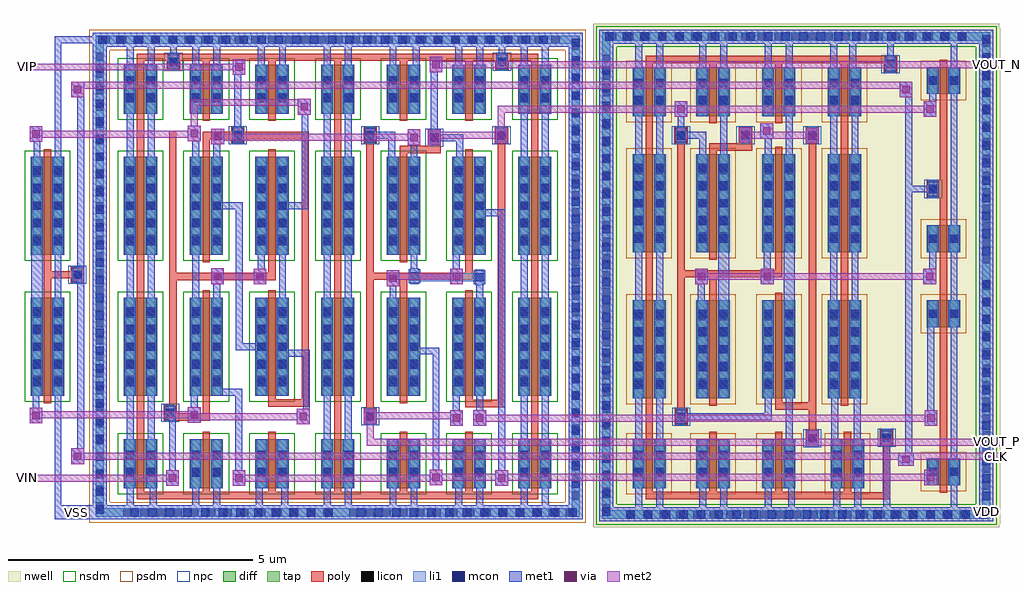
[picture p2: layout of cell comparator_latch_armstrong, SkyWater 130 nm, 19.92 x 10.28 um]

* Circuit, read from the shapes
.subckt comparator_latch_armstrong CLK VDD VIN VIP VOUT_N VOUT_P VSS
XM1 VSS CLK n1 VSS sky130_fd_pr__nfet_01v8 w=2 l=0.15 m=2
XM2 VSS VSS VSS VSS sky130_fd_pr__nfet_01v8 w=1 l=0.15 m=14
XM3 VSS VSS VSS VSS sky130_fd_pr__nfet_01v8 w=2 l=0.15 m=6
XM4 n2 VIN n1 VSS sky130_fd_pr__nfet_01v8 w=2 l=0.15 m=2
XM5 n3 VIP n1 VSS sky130_fd_pr__nfet_01v8 w=2 l=0.15 m=2
XM6 n2 VOUT_P VOUT_N VSS sky130_fd_pr__nfet_01v8 w=2 l=0.15 m=2
XM7 n3 VOUT_N VOUT_P VSS sky130_fd_pr__nfet_01v8 w=2 l=0.15 m=2
XM8 VDD VDD VDD VDD sky130_fd_pr__pfet_01v8 w=1 l=0.15 m=8
XM9 VDD VDD VDD VDD sky130_fd_pr__pfet_01v8 w=2 l=0.15 m=4
XM10 VDD VOUT_N VOUT_P VDD sky130_fd_pr__pfet_01v8 w=2 l=0.15 m=2
XM11 VDD VOUT_P VOUT_N VDD sky130_fd_pr__pfet_01v8 w=2 l=0.15 m=2
XM12 VDD CLK n2 VDD sky130_fd_pr__pfet_01v8 w=0.55 l=0.15
XM13 VDD CLK n3 VDD sky130_fd_pr__pfet_01v8 w=0.55 l=0.15
XM14 VDD CLK VOUT_P VDD sky130_fd_pr__pfet_01v8 w=0.55 l=0.15
XM15 VDD CLK VOUT_N VDD sky130_fd_pr__pfet_01v8 w=0.55 l=0.15
.ends

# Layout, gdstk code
import gdstk
lib = gdstk.Library(unit=1e-6, precision=1e-09)
def R(c, l, rs):  # rectangles x0, y0, x1, y1
    for r in rs: c.add(gdstk.rectangle(r[:2], r[2:], *l))
def A(c, l, x, y, w, h, nx, ny, dx, dy):  # array of equal rectangles
    R(c, l, [(x+i*dx, y+j*dy, x+i*dx+w, y+j*dy+h) for i in range(nx) for j in range(ny)])
nwell = (64, 20)
diff = (65, 20)
tap = (65, 44)
poly = (66, 20)
licon = (66, 44)
li1 = (67, 20)
mcon = (67, 44)
met1 = (68, 20)
via = (68, 44)
met2 = (69, 20)
nsdm = (93, 44)
psdm = (94, 20)
npc = (95, 20)

comparator_latch_armstro = lib.new_cell('comparator_latch_armstrong')
R(comparator_latch_armstro, nwell, [(0.595,-14.905,8.88,-14.845), (0.595,-14.845,8.895,-4.71), (0.595,-4.71,8.88,-4.625)])
A(comparator_latch_armstro, diff, -8.985, -14.105, 0.68, 1, 3, 2, 1.34, 7.645)
A(comparator_latch_armstro, diff, -4.96, -14.105, 0.68, 1, 4, 2, 1.34, 7.645)
A(comparator_latch_armstro, diff, 2.7, -12.27, 0.68, 2, 3, 2, 1.34, 2.98)
A(comparator_latch_armstro, diff, -8.985, -12.22, 0.68, 2, 3, 2, 1.34, 2.88)
A(comparator_latch_armstro, diff, -4.96, -12.22, 0.68, 2, 4, 2, 1.34, 2.88)
A(comparator_latch_armstro, diff, 2.7, -6.51, 0.68, 1, 3, 1, 1.34, 0)
R(comparator_latch_armstro, diff, [(1.395,-14.105,2.075,-13.105), (2.7,-14.105,3.38,-13.105), (4.04,-14.105,4.72,-13.105), (5.44,-14.105,6.12,-13.105), (7.4,-14.045,8.08,-13.495), (1.395,-12.27,2.075,-10.27), (-10.885,-12.22,-10.205,-10.22), (7.4,-10.82,8.08,-10.27), (-10.885,-9.34,-10.205,-7.34), (1.395,-9.29,2.075,-7.29), (7.4,-9.29,8.08,-8.74), (1.395,-6.51,2.075,-5.51), (7.4,-6.06,8.08,-5.51)])
R(comparator_latch_armstro, tap, [(0.775,-14.725,8.7,-14.555), (-9.565,-14.685,0.32,-14.515), (0.775,-14.555,0.945,-4.975), (8.53,-14.555,8.7,-4.975), (-9.565,-14.515,-9.395,-5.04), (0.15,-14.515,0.32,-5.04), (-9.565,-5.04,0.32,-4.87), (0.775,-4.975,8.7,-4.805)])
R(comparator_latch_armstro, poly, [(5.705,-14.335,6.655,-14.33), (-8.72,-14.33,-0.525,-14.18), (1.66,-14.33,6.655,-14.185), (7.665,-14.195,7.815,-8.165), (1.66,-14.185,5.855,-14.18), (6.505,-14.185,6.655,-13.24), (-8.72,-14.18,-8.57,-5.385), (-7.38,-14.18,-7.23,-12.955), (-6.04,-14.18,-5.89,-12.955), (-4.695,-14.18,-4.545,-5.385), (-3.355,-14.18,-3.205,-12.955), (-2.015,-14.18,-1.865,-12.955), (-0.675,-14.18,-0.525,-5.385), (1.66,-14.18,1.81,-5.435), (2.965,-14.18,3.115,-12.955), (4.305,-14.18,4.455,-12.955), (5.705,-14.18,5.855,-12.955), (4.93,-13.25,5.2,-12.92), (6.445,-13.24,6.715,-12.91), (4.99,-12.92,5.14,-12.5), (2.255,-12.815,2.525,-12.485), (-4.095,-12.805,-3.825,-12.475), (-8.175,-12.73,-7.23,-12.58), (-8.175,-12.58,-7.905,-12.4), (-7.38,-12.58,-7.23,-10.07), (4.305,-12.5,5.14,-12.35), (2.31,-12.485,2.46,-9.805), (-4.035,-12.475,-3.885,-9.855), (-2.015,-12.45,-1.205,-12.3), (-6.04,-12.445,-5.21,-12.295), (2.965,-12.42,3.115,-9.805), (5.645,-12.42,5.795,-5.435), (-8.06,-12.4,-7.91,-9.86), (-10.62,-12.37,-10.47,-9.825), (-3.355,-12.37,-3.205,-9.855), (4.305,-12.35,4.455,-10.12), (4.99,-12.35,5.14,-7.07), (-2.015,-12.3,-1.865,-10.07), (-1.355,-12.3,-1.205,-7.07), (-6.04,-12.295,-5.89,-10.07), (-5.36,-12.295,-5.21,-6.98), (-10.07,-9.915,-9.8,-9.825), (-8.065,-9.86,-5.89,-9.71), (-4.035,-9.855,-1.865,-9.705), (-10.62,-9.825,-9.8,-9.675), (2.31,-9.805,4.455,-9.655), (-8.065,-9.71,-7.915,-6.815), (-6.04,-9.71,-5.89,-7.19), (-4.035,-9.705,-3.885,-7.07), (-2.015,-9.705,-1.865,-7.19), (-10.62,-9.675,-10.47,-7.19), (-10.07,-9.675,-9.8,-9.585), (2.31,-9.655,2.46,-7.07), (4.305,-9.655,4.455,-7.14), (-7.38,-9.49,-7.23,-6.98), (-3.355,-9.49,-3.205,-7.265), (2.965,-9.44,3.115,-7.215), (7.395,-8.165,7.815,-7.835), (7.665,-7.835,7.815,-5.36), (-3.355,-7.265,-2.515,-7.115), (2.965,-7.215,3.835,-7.065), (-2.785,-7.115,-2.515,-6.785), (-6.795,-7.07,-6.525,-6.98), (-4.095,-7.07,-3.825,-6.74), (-1.415,-7.07,-1.145,-6.74), (2.25,-7.07,2.52,-6.74), (4.93,-7.07,5.2,-6.74), (3.565,-7.065,3.835,-6.735), (-7.38,-6.98,-5.21,-6.83), (-6.795,-6.83,-6.525,-6.74), (2.965,-6.66,3.115,-5.435), (4.305,-6.66,4.455,-5.435), (-7.38,-6.61,-7.23,-5.385), (-6.04,-6.61,-5.89,-5.385), (-3.355,-6.61,-3.205,-5.385), (-2.015,-6.61,-1.865,-5.385), (6.525,-5.615,6.795,-5.435), (-8.11,-5.57,-7.84,-5.385), (-1.405,-5.57,-1.135,-5.385), (1.66,-5.435,6.795,-5.285), (-8.72,-5.385,-0.525,-5.235)])
A(comparator_latch_armstro, licon, 1.27, -14.725, 0.17, 0.17, 22, 1, 0.34, 0)
A(comparator_latch_armstro, licon, -8.995, -14.685, 0.17, 0.17, 13, 1, 0.34, 0)
A(comparator_latch_armstro, licon, -4.39, -14.685, 0.17, 0.17, 14, 1, 0.34, 0)
A(comparator_latch_armstro, licon, 0.775, -14.605, 0.17, 0.17, 1, 28, 0, 0.34)
A(comparator_latch_armstro, licon, -9.565, -14.565, 0.17, 0.17, 1, 28, 0, 0.34)
A(comparator_latch_armstro, licon, 0.15, -14.34, 0.17, 0.17, 1, 28, 0, 0.34)
A(comparator_latch_armstro, licon, 8.53, -14.135, 0.17, 0.17, 1, 13, 0, 0.34)
A(comparator_latch_armstro, licon, 1.435, -12.035, 0.17, 0.17, 1, 5, 0, 0.34)
A(comparator_latch_armstro, licon, 1.865, -12.035, 0.17, 0.17, 1, 5, 0, 0.34)
A(comparator_latch_armstro, licon, 2.74, -12.035, 0.17, 0.17, 1, 5, 0, 0.34)
A(comparator_latch_armstro, licon, 3.17, -12.035, 0.17, 0.17, 1, 5, 0, 0.34)
A(comparator_latch_armstro, licon, 4.08, -12.035, 0.17, 0.17, 1, 5, 0, 0.34)
A(comparator_latch_armstro, licon, 4.51, -12.035, 0.17, 0.17, 1, 5, 0, 0.34)
A(comparator_latch_armstro, licon, 5.42, -12.035, 0.17, 0.17, 1, 5, 0, 0.34)
A(comparator_latch_armstro, licon, 5.85, -12.035, 0.17, 0.17, 1, 5, 0, 0.34)
A(comparator_latch_armstro, licon, -10.845, -11.985, 0.17, 0.17, 1, 5, 0, 0.34)
A(comparator_latch_armstro, licon, -10.415, -11.985, 0.17, 0.17, 1, 5, 0, 0.34)
A(comparator_latch_armstro, licon, -8.945, -11.985, 0.17, 0.17, 1, 5, 0, 0.34)
A(comparator_latch_armstro, licon, -8.515, -11.985, 0.17, 0.17, 1, 5, 0, 0.34)
A(comparator_latch_armstro, licon, -7.605, -11.985, 0.17, 0.17, 1, 5, 0, 0.34)
A(comparator_latch_armstro, licon, -7.175, -11.985, 0.17, 0.17, 1, 5, 0, 0.34)
A(comparator_latch_armstro, licon, -6.265, -11.985, 0.17, 0.17, 1, 5, 0, 0.34)
A(comparator_latch_armstro, licon, -5.835, -11.985, 0.17, 0.17, 1, 5, 0, 0.34)
A(comparator_latch_armstro, licon, -4.92, -11.985, 0.17, 0.17, 1, 5, 0, 0.34)
A(comparator_latch_armstro, licon, -4.49, -11.985, 0.17, 0.17, 1, 5, 0, 0.34)
A(comparator_latch_armstro, licon, -3.58, -11.985, 0.17, 0.17, 1, 5, 0, 0.34)
A(comparator_latch_armstro, licon, -3.15, -11.985, 0.17, 0.17, 1, 5, 0, 0.34)
A(comparator_latch_armstro, licon, -2.24, -11.985, 0.17, 0.17, 1, 5, 0, 0.34)
A(comparator_latch_armstro, licon, -1.81, -11.985, 0.17, 0.17, 1, 5, 0, 0.34)
A(comparator_latch_armstro, licon, -0.9, -11.985, 0.17, 0.17, 1, 5, 0, 0.34)
A(comparator_latch_armstro, licon, -0.47, -11.985, 0.17, 0.17, 1, 5, 0, 0.34)
A(comparator_latch_armstro, licon, 8.53, -9.515, 0.17, 0.17, 1, 14, 0, 0.34)
A(comparator_latch_armstro, licon, -10.845, -9.105, 0.17, 0.17, 1, 5, 0, 0.34)
A(comparator_latch_armstro, licon, -10.415, -9.105, 0.17, 0.17, 1, 5, 0, 0.34)
A(comparator_latch_armstro, licon, -8.945, -9.105, 0.17, 0.17, 1, 5, 0, 0.34)
A(comparator_latch_armstro, licon, -8.515, -9.105, 0.17, 0.17, 1, 5, 0, 0.34)
A(comparator_latch_armstro, licon, -7.605, -9.105, 0.17, 0.17, 1, 5, 0, 0.34)
A(comparator_latch_armstro, licon, -7.175, -9.105, 0.17, 0.17, 1, 5, 0, 0.34)
A(comparator_latch_armstro, licon, -6.265, -9.105, 0.17, 0.17, 1, 5, 0, 0.34)
A(comparator_latch_armstro, licon, -5.835, -9.105, 0.17, 0.17, 1, 5, 0, 0.34)
A(comparator_latch_armstro, licon, -4.92, -9.105, 0.17, 0.17, 1, 5, 0, 0.34)
A(comparator_latch_armstro, licon, -4.49, -9.105, 0.17, 0.17, 1, 5, 0, 0.34)
A(comparator_latch_armstro, licon, -3.58, -9.105, 0.17, 0.17, 1, 5, 0, 0.34)
A(comparator_latch_armstro, licon, -3.15, -9.105, 0.17, 0.17, 1, 5, 0, 0.34)
A(comparator_latch_armstro, licon, -2.24, -9.105, 0.17, 0.17, 1, 5, 0, 0.34)
A(comparator_latch_armstro, licon, -1.81, -9.105, 0.17, 0.17, 1, 5, 0, 0.34)
A(comparator_latch_armstro, licon, -0.9, -9.105, 0.17, 0.17, 1, 5, 0, 0.34)
A(comparator_latch_armstro, licon, -0.47, -9.105, 0.17, 0.17, 1, 5, 0, 0.34)
A(comparator_latch_armstro, licon, 1.435, -9.055, 0.17, 0.17, 1, 5, 0, 0.34)
A(comparator_latch_armstro, licon, 1.865, -9.055, 0.17, 0.17, 1, 5, 0, 0.34)
A(comparator_latch_armstro, licon, 2.74, -9.055, 0.17, 0.17, 1, 5, 0, 0.34)
A(comparator_latch_armstro, licon, 3.17, -9.055, 0.17, 0.17, 1, 5, 0, 0.34)
A(comparator_latch_armstro, licon, 4.08, -9.055, 0.17, 0.17, 1, 5, 0, 0.34)
A(comparator_latch_armstro, licon, 4.51, -9.055, 0.17, 0.17, 1, 5, 0, 0.34)
A(comparator_latch_armstro, licon, 5.42, -9.055, 0.17, 0.17, 1, 5, 0, 0.34)
A(comparator_latch_armstro, licon, 5.85, -9.055, 0.17, 0.17, 1, 5, 0, 0.34)
A(comparator_latch_armstro, licon, -9.445, -5.04, 0.17, 0.17, 28, 1, 0.34, 0)
A(comparator_latch_armstro, licon, 0.895, -4.975, 0.17, 0.17, 22, 1, 0.34, 0)
R(comparator_latch_armstro, licon, [(-8.945,-13.86,-8.775,-13.69), (-8.515,-13.86,-8.345,-13.69), (-7.605,-13.86,-7.435,-13.69), (-7.175,-13.86,-7.005,-13.69), (-6.265,-13.86,-6.095,-13.69), (-5.835,-13.86,-5.665,-13.69), (-4.92,-13.86,-4.75,-13.69), (-4.49,-13.86,-4.32,-13.69), (-3.58,-13.86,-3.41,-13.69), (-3.15,-13.86,-2.98,-13.69), (-2.24,-13.86,-2.07,-13.69), (-1.81,-13.86,-1.64,-13.69), (-0.9,-13.86,-0.73,-13.69), (-0.47,-13.86,-0.3,-13.69), (1.435,-13.86,1.605,-13.69), (1.865,-13.86,2.035,-13.69), (2.74,-13.86,2.91,-13.69), (3.17,-13.86,3.34,-13.69), (4.08,-13.86,4.25,-13.69), (4.51,-13.86,4.68,-13.69), (5.48,-13.86,5.65,-13.69), (5.91,-13.86,6.08,-13.69), (7.44,-13.855,7.61,-13.685), (7.87,-13.855,8.04,-13.685), (-8.945,-13.52,-8.775,-13.35), (-8.515,-13.52,-8.345,-13.35), (-7.605,-13.52,-7.435,-13.35), (-7.175,-13.52,-7.005,-13.35), (-6.265,-13.52,-6.095,-13.35), (-5.835,-13.52,-5.665,-13.35), (-4.92,-13.52,-4.75,-13.35), (-4.49,-13.52,-4.32,-13.35), (-3.58,-13.52,-3.41,-13.35), (-3.15,-13.52,-2.98,-13.35), (-2.24,-13.52,-2.07,-13.35), (-1.81,-13.52,-1.64,-13.35), (-0.9,-13.52,-0.73,-13.35), (-0.47,-13.52,-0.3,-13.35), (1.435,-13.52,1.605,-13.35), (1.865,-13.52,2.035,-13.35), (2.74,-13.52,2.91,-13.35), (3.17,-13.52,3.34,-13.35), (4.08,-13.52,4.25,-13.35), (4.51,-13.52,4.68,-13.35), (5.48,-13.52,5.65,-13.35), (5.91,-13.52,6.08,-13.35), (4.98,-13.17,5.15,-13), (6.495,-13.16,6.665,-12.99), (2.305,-12.735,2.475,-12.565), (-4.045,-12.725,-3.875,-12.555), (-8.125,-12.65,-7.955,-12.48), (7.44,-10.63,7.61,-10.46), (7.87,-10.63,8.04,-10.46), (-10.02,-9.835,-9.85,-9.665), (7.44,-9.1,7.61,-8.93), (7.87,-9.1,8.04,-8.93), (7.445,-8.085,7.615,-7.915), (-2.735,-7.035,-2.565,-6.865), (-6.745,-6.99,-6.575,-6.82), (-4.045,-6.99,-3.875,-6.82), (-1.365,-6.99,-1.195,-6.82), (2.3,-6.99,2.47,-6.82), (4.98,-6.99,5.15,-6.82), (3.615,-6.985,3.785,-6.815), (1.435,-6.265,1.605,-6.095), (1.865,-6.265,2.035,-6.095), (2.74,-6.265,2.91,-6.095), (3.17,-6.265,3.34,-6.095), (4.08,-6.265,4.25,-6.095), (4.51,-6.265,4.68,-6.095), (5.42,-6.265,5.59,-6.095), (5.85,-6.265,6.02,-6.095), (-8.945,-6.215,-8.775,-6.045), (-8.515,-6.215,-8.345,-6.045), (-7.605,-6.215,-7.435,-6.045), (-7.175,-6.215,-7.005,-6.045), (-6.265,-6.215,-6.095,-6.045), (-5.835,-6.215,-5.665,-6.045), (-4.92,-6.215,-4.75,-6.045), (-4.49,-6.215,-4.32,-6.045), (-3.58,-6.215,-3.41,-6.045), (-3.15,-6.215,-2.98,-6.045), (-2.24,-6.215,-2.07,-6.045), (-1.81,-6.215,-1.64,-6.045), (-0.9,-6.215,-0.73,-6.045), (-0.47,-6.215,-0.3,-6.045), (1.435,-5.925,1.605,-5.755), (1.865,-5.925,2.035,-5.755), (2.74,-5.925,2.91,-5.755), (3.17,-5.925,3.34,-5.755), (4.08,-5.925,4.25,-5.755), (4.51,-5.925,4.68,-5.755), (5.42,-5.925,5.59,-5.755), (5.85,-5.925,6.02,-5.755), (-8.945,-5.875,-8.775,-5.705), (-8.515,-5.875,-8.345,-5.705), (-7.605,-5.875,-7.435,-5.705), (-7.175,-5.875,-7.005,-5.705), (-6.265,-5.875,-6.095,-5.705), (-5.835,-5.875,-5.665,-5.705), (-4.92,-5.875,-4.75,-5.705), (-4.49,-5.875,-4.32,-5.705), (-3.58,-5.875,-3.41,-5.705), (-3.15,-5.875,-2.98,-5.705), (-2.24,-5.875,-2.07,-5.705), (-1.81,-5.875,-1.64,-5.705), (-0.9,-5.875,-0.73,-5.705), (-0.47,-5.875,-0.3,-5.705), (7.44,-5.87,7.61,-5.7), (7.87,-5.87,8.04,-5.7), (6.575,-5.535,6.745,-5.365), (-8.06,-5.49,-7.89,-5.32), (-1.355,-5.49,-1.185,-5.32)])
R(comparator_latch_armstro, li1, [(0.775,-14.725,8.7,-14.555), (-9.565,-14.685,0.32,-14.515), (0.775,-14.555,0.945,-4.975), (8.53,-14.555,8.7,-4.975), (-9.565,-14.515,-9.395,-5.04), (0.15,-14.515,0.32,-5.04), (-8.945,-14.105,-8.775,-13.105), (-8.515,-14.105,-8.345,-13.105), (-7.605,-14.105,-7.435,-13.105), (-7.175,-14.105,-7.005,-13.105), (-6.265,-14.105,-6.095,-13.105), (-5.835,-14.105,-5.665,-13.105), (-4.92,-14.105,-4.75,-13.105), (-4.49,-14.105,-4.32,-13.105), (-3.58,-14.105,-3.41,-13.105), (-3.15,-14.105,-2.98,-13.105), (-2.24,-14.105,-2.07,-13.105), (-1.81,-14.105,-1.64,-13.105), (-0.9,-14.105,-0.73,-13.105), (-0.47,-14.105,-0.3,-13.105), (1.435,-14.105,1.605,-13.105), (1.865,-14.105,2.035,-13.105), (2.74,-14.105,2.91,-13.105), (3.17,-14.105,3.34,-13.105), (4.08,-14.105,4.25,-13.105), (4.51,-14.105,4.68,-13.105), (5.48,-14.105,5.65,-13.105), (5.91,-14.105,6.08,-13.105), (7.44,-14.045,7.61,-13.495), (7.87,-14.045,8.04,-13.495), (4.98,-13.25,5.15,-12.92), (6.495,-13.24,6.665,-12.91), (2.305,-12.815,2.475,-12.485), (-4.045,-12.805,-3.875,-12.475), (-8.125,-12.73,-7.955,-12.4), (1.435,-12.27,1.605,-10.27), (1.865,-12.27,2.035,-10.27), (2.74,-12.27,2.91,-10.27), (3.17,-12.27,3.34,-10.27), (4.08,-12.27,4.25,-10.27), (4.51,-12.27,4.68,-10.27), (5.42,-12.27,5.59,-10.27), (5.85,-12.27,6.02,-10.27), (-10.845,-12.22,-10.675,-10.22), (-10.415,-12.22,-10.245,-10.22), (-8.945,-12.22,-8.775,-10.22), (-8.515,-12.22,-8.345,-10.22), (-7.605,-12.22,-7.435,-10.22), (-7.175,-12.22,-7.005,-10.22), (-6.265,-12.22,-6.095,-10.22), (-5.835,-12.22,-5.665,-10.22), (-4.92,-12.22,-4.75,-10.22), (-4.49,-12.22,-4.32,-10.22), (-3.58,-12.22,-3.41,-10.22), (-3.15,-12.22,-2.98,-10.22), (-2.24,-12.22,-2.07,-10.22), (-1.81,-12.22,-1.64,-10.22), (-0.9,-12.22,-0.73,-10.22), (-0.47,-12.22,-0.3,-10.22), (7.44,-10.82,7.61,-10.27), (7.87,-10.82,8.04,-10.27), (-1.815,-9.965,-1.645,-9.885), (-3.14,-9.945,-2.97,-9.885), (-10.02,-9.915,-9.85,-9.585), (-3.14,-9.885,-1.645,-9.715), (-3.14,-9.715,-2.97,-9.615), (-1.815,-9.715,-1.645,-9.635), (-10.845,-9.34,-10.675,-7.34), (-10.415,-9.34,-10.245,-7.34), (-8.945,-9.34,-8.775,-7.34), (-8.515,-9.34,-8.345,-7.34), (-7.605,-9.34,-7.435,-7.34), (-7.175,-9.34,-7.005,-7.34), (-6.265,-9.34,-6.095,-7.34), (-5.835,-9.34,-5.665,-7.34), (-4.92,-9.34,-4.75,-7.34), (-4.49,-9.34,-4.32,-7.34), (-3.58,-9.34,-3.41,-7.34), (-3.15,-9.34,-2.98,-7.34), (-2.24,-9.34,-2.07,-7.34), (-1.81,-9.34,-1.64,-7.34), (-0.9,-9.34,-0.73,-7.34), (-0.47,-9.34,-0.3,-7.34), (1.435,-9.29,1.605,-7.29), (1.865,-9.29,2.035,-7.29), (2.74,-9.29,2.91,-7.29), (3.17,-9.29,3.34,-7.29), (4.08,-9.29,4.25,-7.29), (4.51,-9.29,4.68,-7.29), (5.42,-9.29,5.59,-7.29), (5.85,-9.29,6.02,-7.29), (7.44,-9.29,7.61,-8.74), (7.87,-9.29,8.04,-8.74), (7.445,-8.165,7.615,-7.835), (-2.735,-7.115,-2.565,-6.785), (-6.745,-7.07,-6.575,-6.74), (-4.045,-7.07,-3.875,-6.74), (-1.365,-7.07,-1.195,-6.74), (2.3,-7.07,2.47,-6.74), (4.98,-7.07,5.15,-6.74), (3.615,-7.065,3.785,-6.735), (1.435,-6.51,1.605,-5.51), (1.865,-6.51,2.035,-5.51), (2.74,-6.51,2.91,-5.51), (3.17,-6.51,3.34,-5.51), (4.08,-6.51,4.25,-5.51), (4.51,-6.51,4.68,-5.51), (5.42,-6.51,5.59,-5.51), (5.85,-6.51,6.02,-5.51), (-8.945,-6.46,-8.775,-5.46), (-8.515,-6.46,-8.345,-5.46), (-7.605,-6.46,-7.435,-5.46), (-7.175,-6.46,-7.005,-5.46), (-6.265,-6.46,-6.095,-5.46), (-5.835,-6.46,-5.665,-5.46), (-4.92,-6.46,-4.75,-5.46), (-4.49,-6.46,-4.32,-5.46), (-3.58,-6.46,-3.41,-5.46), (-3.15,-6.46,-2.98,-5.46), (-2.24,-6.46,-2.07,-5.46), (-1.81,-6.46,-1.64,-5.46), (-0.9,-6.46,-0.73,-5.46), (-0.47,-6.46,-0.3,-5.46), (7.44,-6.06,7.61,-5.51), (7.87,-6.06,8.04,-5.51), (6.575,-5.615,6.745,-5.285), (-8.06,-5.57,-7.89,-5.24), (-1.355,-5.57,-1.185,-5.24), (-9.565,-5.04,0.32,-4.87), (0.775,-4.975,8.7,-4.805)])
A(comparator_latch_armstro, mcon, 1.27, -14.725, 0.17, 0.17, 21, 1, 0.36, 0)
A(comparator_latch_armstro, mcon, -8.85, -14.685, 0.17, 0.17, 12, 1, 0.36, 0)
A(comparator_latch_armstro, mcon, -4.23, -14.685, 0.17, 0.17, 13, 1, 0.36, 0)
A(comparator_latch_armstro, mcon, 0.775, -14.665, 0.17, 0.17, 1, 26, 0, 0.36)
A(comparator_latch_armstro, mcon, -9.565, -14.625, 0.17, 0.17, 1, 26, 0, 0.36)
A(comparator_latch_armstro, mcon, 8.53, -14.35, 0.17, 0.17, 1, 13, 0, 0.36)
A(comparator_latch_armstro, mcon, 0.15, -14.1, 0.17, 0.17, 1, 26, 0, 0.36)
A(comparator_latch_armstro, mcon, 1.435, -12.075, 0.17, 0.17, 1, 5, 0, 0.36)
A(comparator_latch_armstro, mcon, 1.865, -12.075, 0.17, 0.17, 1, 5, 0, 0.36)
A(comparator_latch_armstro, mcon, 2.74, -12.075, 0.17, 0.17, 1, 5, 0, 0.36)
A(comparator_latch_armstro, mcon, 3.17, -12.075, 0.17, 0.17, 1, 5, 0, 0.36)
A(comparator_latch_armstro, mcon, 4.08, -12.075, 0.17, 0.17, 1, 5, 0, 0.36)
A(comparator_latch_armstro, mcon, 4.51, -12.075, 0.17, 0.17, 1, 5, 0, 0.36)
A(comparator_latch_armstro, mcon, 5.42, -12.075, 0.17, 0.17, 1, 5, 0, 0.36)
A(comparator_latch_armstro, mcon, 5.85, -12.075, 0.17, 0.17, 1, 5, 0, 0.36)
A(comparator_latch_armstro, mcon, -10.845, -12.025, 0.17, 0.17, 1, 5, 0, 0.36)
A(comparator_latch_armstro, mcon, -10.415, -12.025, 0.17, 0.17, 1, 5, 0, 0.36)
A(comparator_latch_armstro, mcon, -8.945, -12.025, 0.17, 0.17, 1, 5, 0, 0.36)
A(comparator_latch_armstro, mcon, -8.515, -12.025, 0.17, 0.17, 1, 5, 0, 0.36)
A(comparator_latch_armstro, mcon, -7.605, -12.025, 0.17, 0.17, 1, 5, 0, 0.36)
A(comparator_latch_armstro, mcon, -7.175, -12.025, 0.17, 0.17, 1, 5, 0, 0.36)
A(comparator_latch_armstro, mcon, -6.265, -12.025, 0.17, 0.17, 1, 5, 0, 0.36)
A(comparator_latch_armstro, mcon, -5.835, -12.025, 0.17, 0.17, 1, 5, 0, 0.36)
A(comparator_latch_armstro, mcon, -4.92, -12.025, 0.17, 0.17, 1, 5, 0, 0.36)
A(comparator_latch_armstro, mcon, -4.49, -12.025, 0.17, 0.17, 1, 5, 0, 0.36)
A(comparator_latch_armstro, mcon, -3.58, -12.025, 0.17, 0.17, 1, 5, 0, 0.36)
A(comparator_latch_armstro, mcon, -3.15, -12.025, 0.17, 0.17, 1, 5, 0, 0.36)
A(comparator_latch_armstro, mcon, -2.24, -12.025, 0.17, 0.17, 1, 5, 0, 0.36)
A(comparator_latch_armstro, mcon, -1.81, -12.025, 0.17, 0.17, 1, 5, 0, 0.36)
A(comparator_latch_armstro, mcon, -0.9, -12.025, 0.17, 0.17, 1, 5, 0, 0.36)
A(comparator_latch_armstro, mcon, -0.47, -12.025, 0.17, 0.17, 1, 5, 0, 0.36)
A(comparator_latch_armstro, mcon, 8.53, -9.355, 0.17, 0.17, 1, 13, 0, 0.36)
A(comparator_latch_armstro, mcon, -10.845, -9.145, 0.17, 0.17, 1, 5, 0, 0.36)
A(comparator_latch_armstro, mcon, -10.415, -9.145, 0.17, 0.17, 1, 5, 0, 0.36)
A(comparator_latch_armstro, mcon, -8.945, -9.145, 0.17, 0.17, 1, 5, 0, 0.36)
A(comparator_latch_armstro, mcon, -8.515, -9.145, 0.17, 0.17, 1, 5, 0, 0.36)
A(comparator_latch_armstro, mcon, -7.605, -9.145, 0.17, 0.17, 1, 5, 0, 0.36)
A(comparator_latch_armstro, mcon, -7.175, -9.145, 0.17, 0.17, 1, 5, 0, 0.36)
A(comparator_latch_armstro, mcon, -6.265, -9.145, 0.17, 0.17, 1, 5, 0, 0.36)
A(comparator_latch_armstro, mcon, -5.835, -9.145, 0.17, 0.17, 1, 5, 0, 0.36)
A(comparator_latch_armstro, mcon, -4.92, -9.145, 0.17, 0.17, 1, 5, 0, 0.36)
A(comparator_latch_armstro, mcon, -4.49, -9.145, 0.17, 0.17, 1, 5, 0, 0.36)
A(comparator_latch_armstro, mcon, -3.58, -9.145, 0.17, 0.17, 1, 5, 0, 0.36)
A(comparator_latch_armstro, mcon, -3.15, -9.145, 0.17, 0.17, 1, 5, 0, 0.36)
A(comparator_latch_armstro, mcon, -2.24, -9.145, 0.17, 0.17, 1, 5, 0, 0.36)
A(comparator_latch_armstro, mcon, -1.81, -9.145, 0.17, 0.17, 1, 5, 0, 0.36)
A(comparator_latch_armstro, mcon, -0.9, -9.145, 0.17, 0.17, 1, 5, 0, 0.36)
A(comparator_latch_armstro, mcon, -0.47, -9.145, 0.17, 0.17, 1, 5, 0, 0.36)
A(comparator_latch_armstro, mcon, 1.435, -9.095, 0.17, 0.17, 1, 5, 0, 0.36)
A(comparator_latch_armstro, mcon, 1.865, -9.095, 0.17, 0.17, 1, 5, 0, 0.36)
A(comparator_latch_armstro, mcon, 2.74, -9.095, 0.17, 0.17, 1, 5, 0, 0.36)
A(comparator_latch_armstro, mcon, 3.17, -9.095, 0.17, 0.17, 1, 5, 0, 0.36)
A(comparator_latch_armstro, mcon, 4.08, -9.095, 0.17, 0.17, 1, 5, 0, 0.36)
A(comparator_latch_armstro, mcon, 4.51, -9.095, 0.17, 0.17, 1, 5, 0, 0.36)
A(comparator_latch_armstro, mcon, 5.42, -9.095, 0.17, 0.17, 1, 5, 0, 0.36)
A(comparator_latch_armstro, mcon, 5.85, -9.095, 0.17, 0.17, 1, 5, 0, 0.36)
A(comparator_latch_armstro, mcon, -9.505, -5.04, 0.17, 0.17, 26, 1, 0.36, 0)
A(comparator_latch_armstro, mcon, 0.835, -4.975, 0.17, 0.17, 21, 1, 0.36, 0)
R(comparator_latch_armstro, mcon, [(-8.945,-13.87,-8.775,-13.7), (-8.515,-13.87,-8.345,-13.7), (-7.605,-13.87,-7.435,-13.7), (-7.175,-13.87,-7.005,-13.7), (-6.265,-13.87,-6.095,-13.7), (-5.835,-13.87,-5.665,-13.7), (-4.92,-13.87,-4.75,-13.7), (-4.49,-13.87,-4.32,-13.7), (-3.58,-13.87,-3.41,-13.7), (-3.15,-13.87,-2.98,-13.7), (-2.24,-13.87,-2.07,-13.7), (-1.81,-13.87,-1.64,-13.7), (-0.9,-13.87,-0.73,-13.7), (-0.47,-13.87,-0.3,-13.7), (1.435,-13.87,1.605,-13.7), (1.865,-13.87,2.035,-13.7), (2.74,-13.87,2.91,-13.7), (3.17,-13.87,3.34,-13.7), (4.08,-13.87,4.25,-13.7), (4.51,-13.87,4.68,-13.7), (5.48,-13.87,5.65,-13.7), (5.91,-13.87,6.08,-13.7), (7.44,-13.855,7.61,-13.685), (7.87,-13.855,8.04,-13.685), (-8.945,-13.51,-8.775,-13.34), (-8.515,-13.51,-8.345,-13.34), (-7.605,-13.51,-7.435,-13.34), (-7.175,-13.51,-7.005,-13.34), (-6.265,-13.51,-6.095,-13.34), (-5.835,-13.51,-5.665,-13.34), (-4.92,-13.51,-4.75,-13.34), (-4.49,-13.51,-4.32,-13.34), (-3.58,-13.51,-3.41,-13.34), (-3.15,-13.51,-2.98,-13.34), (-2.24,-13.51,-2.07,-13.34), (-1.81,-13.51,-1.64,-13.34), (-0.9,-13.51,-0.73,-13.34), (-0.47,-13.51,-0.3,-13.34), (1.435,-13.51,1.605,-13.34), (1.865,-13.51,2.035,-13.34), (2.74,-13.51,2.91,-13.34), (3.17,-13.51,3.34,-13.34), (4.08,-13.51,4.25,-13.34), (4.51,-13.51,4.68,-13.34), (5.48,-13.51,5.65,-13.34), (5.91,-13.51,6.08,-13.34), (4.98,-13.17,5.15,-13), (6.495,-13.16,6.665,-12.99), (2.305,-12.735,2.475,-12.565), (-4.045,-12.725,-3.875,-12.555), (-8.125,-12.65,-7.955,-12.48), (7.44,-10.63,7.61,-10.46), (7.87,-10.63,8.04,-10.46), (-1.815,-9.885,-1.645,-9.715), (-3.14,-9.865,-2.97,-9.695), (-10.02,-9.835,-9.85,-9.665), (7.44,-9.1,7.61,-8.93), (7.87,-9.1,8.04,-8.93), (7.445,-8.085,7.615,-7.915), (-2.735,-7.035,-2.565,-6.865), (-6.745,-6.99,-6.575,-6.82), (-4.045,-6.99,-3.875,-6.82), (-1.365,-6.99,-1.195,-6.82), (2.3,-6.99,2.47,-6.82), (4.98,-6.99,5.15,-6.82), (3.615,-6.985,3.785,-6.815), (1.435,-6.275,1.605,-6.105), (1.865,-6.275,2.035,-6.105), (2.74,-6.275,2.91,-6.105), (3.17,-6.275,3.34,-6.105), (4.08,-6.275,4.25,-6.105), (4.51,-6.275,4.68,-6.105), (5.42,-6.275,5.59,-6.105), (5.85,-6.275,6.02,-6.105), (-8.945,-6.225,-8.775,-6.055), (-8.515,-6.225,-8.345,-6.055), (-7.605,-6.225,-7.435,-6.055), (-7.175,-6.225,-7.005,-6.055), (-6.265,-6.225,-6.095,-6.055), (-5.835,-6.225,-5.665,-6.055), (-4.92,-6.225,-4.75,-6.055), (-4.49,-6.225,-4.32,-6.055), (-3.58,-6.225,-3.41,-6.055), (-3.15,-6.225,-2.98,-6.055), (-2.24,-6.225,-2.07,-6.055), (-1.81,-6.225,-1.64,-6.055), (-0.9,-6.225,-0.73,-6.055), (-0.47,-6.225,-0.3,-6.055), (1.435,-5.915,1.605,-5.745), (1.865,-5.915,2.035,-5.745), (2.74,-5.915,2.91,-5.745), (3.17,-5.915,3.34,-5.745), (4.08,-5.915,4.25,-5.745), (4.51,-5.915,4.68,-5.745), (5.42,-5.915,5.59,-5.745), (5.85,-5.915,6.02,-5.745), (7.44,-5.87,7.61,-5.7), (7.87,-5.87,8.04,-5.7), (-8.945,-5.865,-8.775,-5.695), (-8.515,-5.865,-8.345,-5.695), (-7.605,-5.865,-7.435,-5.695), (-7.175,-5.865,-7.005,-5.695), (-6.265,-5.865,-6.095,-5.695), (-5.835,-5.865,-5.665,-5.695), (-4.92,-5.865,-4.75,-5.695), (-4.49,-5.865,-4.32,-5.695), (-3.58,-5.865,-3.41,-5.695), (-3.15,-5.865,-2.98,-5.695), (-2.24,-5.865,-2.07,-5.695), (-1.81,-5.865,-1.64,-5.695), (-0.9,-5.865,-0.73,-5.695), (-0.47,-5.865,-0.3,-5.695), (6.575,-5.535,6.745,-5.365), (-8.06,-5.49,-7.89,-5.32), (-1.355,-5.49,-1.185,-5.32)])
A(comparator_latch_armstro, met1, 2.71, -12.27, 0.23, 2, 3, 2, 1.34, 2.98)
R(comparator_latch_armstro, met1, [(0.715,-14.785,8.76,-14.495), (-10.4,-14.745,0.38,-14.455), (0.715,-14.495,1.005,-5.035), (1.45,-14.495,1.59,-14.105), (1.88,-14.495,2.02,-14.105), (2.755,-14.495,2.895,-14.105), (3.185,-14.495,3.325,-14.105), (4.095,-14.495,4.235,-14.105), (4.57,-14.495,4.71,-14.105), (5.495,-14.495,5.635,-14.105), (5.925,-14.495,6.065,-14.105), (6.51,-14.495,6.65,-13.22), (7.885,-14.495,8.025,-14.045), (8.47,-14.495,8.76,-5.035), (-10.4,-14.455,-10.26,-12.22), (-9.625,-14.455,-9.335,-5.1), (-8.93,-14.455,-8.79,-14.105), (-8.455,-14.455,-8.315,-14.105), (-7.59,-14.455,-7.45,-14.105), (-7.16,-14.455,-7.02,-14.105), (-6.295,-14.455,-6.155,-14.105), (-5.775,-14.455,-5.635,-14.105), (-4.905,-14.455,-4.765,-14.105), (-4.475,-14.455,-4.335,-14.105), (-3.565,-14.455,-3.425,-14.105), (-3.135,-14.455,-2.995,-14.105), (-2.225,-14.455,-2.085,-14.105), (-1.795,-14.455,-1.655,-14.105), (-0.885,-14.455,-0.745,-14.105), (-0.455,-14.455,-0.315,-14.105), (0.09,-14.455,0.38,-5.1), (-8.975,-14.105,-8.745,-13.105), (-8.545,-14.105,-8.315,-13.105), (-7.635,-14.105,-7.405,-13.105), (-7.205,-14.105,-6.975,-13.105), (-6.295,-14.105,-6.065,-13.105), (-5.865,-14.105,-5.635,-13.105), (-4.95,-14.105,-4.72,-13.105), (-4.52,-14.105,-4.29,-13.105), (-3.61,-14.105,-3.38,-13.105), (-3.18,-14.105,-2.95,-13.105), (-2.27,-14.105,-2.04,-13.105), (-1.84,-14.105,-1.61,-13.105), (-0.93,-14.105,-0.7,-13.105), (-0.5,-14.105,-0.27,-13.105), (1.405,-14.105,1.635,-13.105), (1.835,-14.105,2.065,-13.105), (2.71,-14.105,2.94,-13.105), (3.14,-14.105,3.37,-13.105), (4.05,-14.105,4.28,-13.105), (4.48,-14.105,4.71,-13.105), (5.45,-14.105,5.68,-13.105), (5.88,-14.105,6.11,-13.105), (-8.125,-14.06,-7.865,-13.74), (-6.765,-14.06,-6.505,-13.74), (-1.405,-14.055,-1.145,-13.735), (-2.745,-14.05,-2.485,-13.73), (7.35,-14.045,7.64,-13.725), (7.84,-14.045,8.07,-13.495), (-8.065,-13.74,-7.925,-12.71), (-6.71,-13.74,-6.57,-12.22), (-1.345,-13.735,-1.205,-8.555), (-2.685,-13.73,-2.545,-11.375), (7.41,-13.725,7.64,-13.495), (6.815,-13.645,7.135,-13.385), (-10.06,-13.615,-9.8,-13.295), (7.885,-13.495,8.025,-10.82), (6.965,-13.385,7.105,-8.07), (-9.94,-13.295,-9.8,-9.895), (4.935,-13.245,5.195,-12.925), (6.465,-13.22,6.695,-12.93), (-8.93,-13.105,-8.79,-12.22), (-8.5,-13.105,-8.36,-12.22), (-4.905,-13.105,-4.765,-12.22), (-4.475,-13.105,-4.335,-12.22), (-0.885,-13.105,-0.745,-12.22), (-0.455,-13.105,-0.315,-12.22), (1.45,-13.105,1.59,-12.27), (1.88,-13.105,2.02,-12.27), (4.525,-13.105,4.665,-12.27), (5.45,-13.105,5.59,-12.27), (5.91,-13.105,6.05,-12.27), (-2.33,-12.835,-2.07,-12.515), (-1.855,-12.835,-1.595,-12.515), (7.355,-12.835,7.615,-12.515), (-5.455,-12.805,-5.195,-12.715), (-4.09,-12.8,-3.83,-12.48), (2.275,-12.795,2.505,-12.72), (-10.91,-12.78,-10.65,-12.46), (-7.68,-12.77,-7.42,-12.45), (2.275,-12.72,4.235,-12.58), (-5.455,-12.715,-5.19,-12.485), (-8.155,-12.71,-7.925,-12.42), (2.275,-12.58,2.505,-12.505), (4.095,-12.58,4.235,-12.27), (-2.27,-12.515,-2.13,-12.22), (-1.795,-12.515,-1.655,-12.22), (7.415,-12.515,7.555,-10.82), (-5.33,-12.485,-5.19,-11.42), (-10.85,-12.46,-10.71,-12.22), (-7.62,-12.45,-7.48,-12.22), (1.405,-12.27,1.635,-10.27), (1.835,-12.27,2.065,-10.27), (3.14,-12.27,3.37,-7.29), (4.48,-12.27,4.71,-7.29), (5.82,-12.27,6.05,-10.27), (-10.875,-12.22,-10.645,-7.34), (-10.445,-12.22,-10.215,-10.22), (-8.975,-12.22,-8.745,-10.22), (-8.545,-12.22,-8.315,-10.22), (-7.635,-12.22,-7.405,-10.22), (-7.205,-12.22,-6.57,-12.08), (-6.295,-12.22,-6.065,-11.29), (-5.865,-12.22,-5.635,-11.42), (-4.95,-12.22,-4.72,-10.22), (-4.52,-12.22,-4.29,-10.22), (-3.61,-12.22,-3.38,-10.22), (-3.18,-12.22,-2.95,-11.375), (-2.27,-12.22,-2.04,-10.22), (-1.84,-12.22,-1.61,-10.22), (-0.93,-12.22,-0.7,-10.22), (-0.5,-12.22,-0.27,-10.22), (-7.205,-12.08,-6.975,-10.22), (-5.865,-11.42,-5.19,-11.28), (-3.18,-11.375,-2.545,-11.235), (-6.705,-11.29,-6.065,-11.15), (-5.865,-11.28,-5.635,-10.22), (-3.18,-11.235,-2.95,-10.22), (-6.705,-11.15,-6.565,-8.41), (-6.295,-11.15,-6.065,-10.22), (7.41,-10.82,7.64,-10.27), (7.84,-10.82,8.07,-10.27), (1.45,-10.27,1.59,-9.29), (1.88,-10.27,2.02,-9.29), (2.73,-10.27,2.87,-9.945), (5.435,-10.27,5.575,-9.29), (5.865,-10.27,6.005,-9.29), (7.885,-10.27,8.025,-9.29), (-10.4,-10.22,-10.26,-9.34), (-8.93,-10.22,-8.79,-9.34), (-8.5,-10.22,-8.36,-9.34), (-7.59,-10.22,-7.45,-9.34), (-7.16,-10.22,-7.02,-9.94), (-5.82,-10.22,-5.68,-9.34), (-4.905,-10.22,-4.765,-9.34), (-4.475,-10.22,-4.335,-9.34), (-3.565,-10.22,-3.425,-9.98), (-1.795,-10.22,-1.655,-9.945), (-0.885,-10.22,-0.745,-9.34), (-0.455,-10.22,-0.315,-9.34), (-3.625,-9.98,-3.365,-9.66), (-6.34,-9.945,-6.08,-9.625), (-2.33,-9.945,-2.07,-9.625), (-1.845,-9.945,-1.615,-9.655), (2.67,-9.945,2.93,-9.625), (4.015,-9.945,4.275,-9.625), (7.33,-9.945,7.59,-9.855), (-7.205,-9.94,-6.945,-9.62), (-3.17,-9.925,-2.94,-9.635), (-10.05,-9.895,-9.8,-9.605), (7.33,-9.855,7.595,-9.625), (-3.135,-9.635,-2.995,-9.34), (-6.25,-9.625,-6.11,-9.34), (-2.27,-9.625,-2.13,-9.34), (4.075,-9.625,4.215,-9.29), (7.455,-9.625,7.595,-9.29), (-9.94,-9.605,-9.8,-6.13), (-10.445,-9.34,-10.215,-7.34), (-8.975,-9.34,-8.745,-7.34), (-8.545,-9.34,-8.315,-7.34), (-7.635,-9.34,-7.405,-7.34), (-7.205,-9.34,-6.975,-8.41), (-6.295,-9.34,-6.065,-7.34), (-5.865,-9.34,-5.635,-8.41), (-4.95,-9.34,-4.72,-7.34), (-4.52,-9.34,-4.29,-7.34), (-3.61,-9.34,-3.38,-7.34), (-3.18,-9.34,-2.95,-7.34), (-2.27,-9.34,-2.04,-7.34), (-1.84,-9.34,-1.61,-8.555), (-0.93,-9.34,-0.7,-7.34), (-0.5,-9.34,-0.27,-7.34), (1.405,-9.29,1.635,-7.29), (1.835,-9.29,2.065,-7.29), (5.82,-9.29,6.05,-7.29), (7.41,-9.29,7.64,-8.74), (7.84,-9.29,8.07,-8.74), (7.885,-8.74,8.025,-6.06), (-1.84,-8.555,-1.205,-8.415), (-1.84,-8.415,-1.61,-7.34), (-7.205,-8.41,-6.565,-8.27), (-5.865,-8.41,-5.22,-8.27), (-7.205,-8.27,-6.975,-7.34), (-5.865,-8.27,-5.635,-7.34), (-5.36,-8.27,-5.22,-6.48), (7.415,-8.145,7.645,-8.07), (6.965,-8.07,7.645,-7.93), (6.965,-7.93,7.105,-6.13), (7.415,-7.93,7.645,-7.855), (-10.83,-7.34,-10.69,-7.04), (-10.4,-7.34,-10.26,-5.02), (-8.93,-7.34,-8.79,-6.46), (-8.5,-7.34,-8.36,-6.46), (-7.59,-7.34,-7.45,-7.03), (-7.16,-7.34,-7.02,-7.085), (-4.905,-7.34,-4.765,-6.46), (-4.475,-7.34,-4.335,-6.46), (-3.59,-7.34,-3.45,-6.975), (-3.135,-7.34,-2.995,-7.105), (-2.205,-7.34,-2.065,-7.02), (-0.885,-7.34,-0.745,-6.46), (-0.455,-7.34,-0.315,-6.46), (1.45,-7.29,1.59,-6.51), (1.88,-7.29,2.02,-6.51), (2.755,-7.29,2.895,-6.975), (3.185,-7.29,3.325,-6.51), (4.095,-7.29,4.235,-6.975), (4.525,-7.29,4.665,-6.51), (5.435,-7.29,5.575,-6.51), (5.865,-7.29,6.005,-6.51), (-2.78,-7.11,-2.52,-7.02), (-3.195,-7.105,-2.935,-6.785), (-7.2,-7.085,-6.94,-6.765), (-1.41,-7.065,-1.15,-6.745), (4.935,-7.065,5.195,-6.745), (3.57,-7.06,3.83,-6.74), (-6.775,-7.05,-6.545,-6.76), (-4.075,-7.05,-3.845,-6.975), (2.27,-7.05,2.5,-6.975), (-10.91,-7.04,-10.65,-6.72), (-7.68,-7.03,-7.42,-6.71), (-2.78,-7.02,-2.065,-6.88), (-4.075,-6.975,-3.45,-6.835), (2.27,-6.975,2.895,-6.835), (4.005,-6.975,4.265,-6.655), (-2.78,-6.88,-2.52,-6.79), (-4.075,-6.835,-3.845,-6.76), (2.27,-6.835,2.5,-6.76), (-2.72,-6.79,-2.58,-5.62), (-6.73,-6.76,-6.59,-5.67), (2.315,-6.76,2.455,-6.53), (2.255,-6.53,2.515,-6.21), (7.335,-6.53,7.595,-6.21), (1.405,-6.51,1.635,-5.51), (1.835,-6.51,2.065,-5.51), (2.71,-6.51,2.94,-5.51), (3.14,-6.51,3.37,-5.51), (4.05,-6.51,4.28,-5.51), (4.48,-6.51,4.71,-5.51), (5.39,-6.51,5.62,-5.51), (5.82,-6.51,6.05,-5.51), (-5.435,-6.48,-5.175,-6.16), (-8.975,-6.46,-8.745,-5.46), (-8.545,-6.46,-8.315,-5.46), (-7.635,-6.46,-7.405,-5.46), (-7.205,-6.46,-6.975,-5.46), (-6.295,-6.46,-6.065,-5.46), (-5.865,-6.46,-5.635,-5.46), (-4.95,-6.46,-4.72,-5.46), (-4.52,-6.46,-4.29,-5.46), (-3.61,-6.46,-3.38,-5.46), (-3.18,-6.46,-2.95,-5.46), (-2.27,-6.46,-2.04,-5.46), (-1.84,-6.46,-1.61,-5.46), (-0.93,-6.46,-0.7,-5.46), (-0.5,-6.46,-0.27,-5.46), (7.455,-6.21,7.595,-6.06), (-10.06,-6.13,-9.8,-5.81), (6.845,-6.13,7.105,-5.81), (7.41,-6.06,7.64,-5.51), (7.84,-6.06,8.07,-5.51), (-6.765,-5.67,-6.505,-5.35), (-2.745,-5.62,-2.485,-5.3), (6.545,-5.595,6.775,-5.305), (-8.09,-5.55,-7.86,-5.26), (-1.385,-5.55,-1.155,-5.26), (1.45,-5.51,1.59,-5.035), (1.88,-5.51,2.02,-5.035), (2.755,-5.51,2.895,-5.035), (3.185,-5.51,3.325,-5.035), (4.095,-5.51,4.235,-5.035), (4.525,-5.51,4.665,-5.035), (5.435,-5.51,5.575,-5.035), (5.82,-5.51,5.96,-5.035), (7.885,-5.51,8.025,-5.035), (-8.93,-5.46,-8.79,-5.1), (-8.5,-5.46,-8.36,-5.1), (-7.59,-5.46,-7.45,-5.1), (-7.16,-5.46,-7.02,-5.1), (-6.25,-5.46,-6.11,-5.1), (-5.82,-5.46,-5.68,-5.1), (-4.905,-5.46,-4.765,-5.1), (-4.475,-5.46,-4.335,-5.1), (-3.565,-5.46,-3.425,-5.1), (-3.09,-5.46,-2.95,-5.1), (-2.225,-5.46,-2.085,-5.1), (-1.795,-5.46,-1.655,-5.1), (-0.885,-5.46,-0.745,-5.1), (-0.455,-5.46,-0.315,-5.1), (6.59,-5.305,6.73,-5.035), (-8.045,-5.26,-7.905,-5.1), (-1.34,-5.26,-1.2,-5.1), (-9.625,-5.1,0.38,-5.02), (0.715,-5.035,8.76,-4.745), (-10.4,-5.02,0.38,-4.88), (-9.625,-4.88,0.38,-4.81)])
R(comparator_latch_armstro, via, [(-8.07,-13.975,-7.92,-13.825), (-6.71,-13.975,-6.56,-13.825), (-1.35,-13.97,-1.2,-13.82), (-2.69,-13.965,-2.54,-13.815), (7.405,-13.96,7.555,-13.81), (6.9,-13.59,7.05,-13.44), (-10.005,-13.53,-9.855,-13.38), (4.99,-13.16,5.14,-13.01), (-2.275,-12.75,-2.125,-12.6), (-1.8,-12.75,-1.65,-12.6), (7.41,-12.75,7.56,-12.6), (-5.4,-12.72,-5.25,-12.57), (-4.035,-12.715,-3.885,-12.565), (-10.855,-12.695,-10.705,-12.545), (-7.625,-12.685,-7.475,-12.535), (-3.57,-9.895,-3.42,-9.745), (-6.285,-9.86,-6.135,-9.71), (-2.275,-9.86,-2.125,-9.71), (2.725,-9.86,2.875,-9.71), (4.07,-9.86,4.22,-9.71), (7.385,-9.86,7.535,-9.71), (-7.15,-9.855,-7,-9.705), (-2.725,-7.025,-2.575,-6.875), (-3.14,-7.02,-2.99,-6.87), (-7.145,-7,-6.995,-6.85), (-1.355,-6.98,-1.205,-6.83), (4.99,-6.98,5.14,-6.83), (3.625,-6.975,3.775,-6.825), (-10.855,-6.955,-10.705,-6.805), (-7.625,-6.945,-7.475,-6.795), (4.06,-6.89,4.21,-6.74), (2.31,-6.445,2.46,-6.295), (7.39,-6.445,7.54,-6.295), (-5.38,-6.395,-5.23,-6.245), (-10.005,-6.045,-9.855,-5.895), (6.9,-6.045,7.05,-5.895), (-6.71,-5.585,-6.56,-5.435), (-2.69,-5.535,-2.54,-5.385)])
R(comparator_latch_armstro, met2, [(-8.125,-14.06,-7.865,-13.97), (-6.765,-14.06,-6.505,-13.97), (-1.405,-14.055,-1.145,-13.955), (-2.745,-14.05,-2.485,-13.97), (7.35,-14.045,7.61,-13.955), (-11.025,-13.97,-7.865,-13.83), (-6.765,-13.97,-2.485,-13.955), (-6.765,-13.955,7.61,-13.83), (-8.125,-13.83,-7.865,-13.74), (-6.765,-13.83,-6.505,-13.74), (-2.745,-13.83,7.61,-13.815), (-2.745,-13.815,-2.485,-13.73), (-1.405,-13.815,-1.145,-13.735), (7.35,-13.815,7.61,-13.725), (6.815,-13.645,7.135,-13.525), (-10.06,-13.615,-9.8,-13.525), (-10.06,-13.525,8.895,-13.385), (-10.06,-13.385,-9.8,-13.295), (4.935,-13.245,5.195,-13.235), (-4.03,-13.235,8.895,-13.095), (-4.03,-13.095,-3.89,-12.8), (4.935,-13.095,5.195,-12.925), (-2.33,-12.835,-2.07,-12.7), (-1.855,-12.835,-1.595,-12.745), (7.355,-12.835,7.615,-12.745), (-5.455,-12.805,-5.195,-12.715), (-4.09,-12.8,-3.83,-12.7), (-10.91,-12.78,-10.65,-12.68), (-7.68,-12.77,-7.42,-12.715), (-1.855,-12.745,7.615,-12.605), (-7.68,-12.715,-5.195,-12.68), (-4.09,-12.7,-2.07,-12.56), (-10.91,-12.68,-5.195,-12.575), (-1.855,-12.605,-1.595,-12.515), (7.355,-12.605,7.615,-12.515), (-10.91,-12.575,-7.42,-12.54), (-5.455,-12.575,-5.195,-12.485), (-4.09,-12.56,-3.83,-12.48), (-2.33,-12.56,-2.07,-12.515), (-10.91,-12.54,-10.65,-12.46), (-7.68,-12.54,-7.42,-12.45), (-3.625,-9.98,-3.365,-9.855), (-6.34,-9.945,-6.08,-9.855), (-2.33,-9.945,-2.07,-9.855), (2.67,-9.945,2.93,-9.855), (4.015,-9.945,4.275,-9.855), (7.33,-9.945,7.59,-9.855), (-7.205,-9.94,-6.945,-9.855), (-7.205,-9.855,-6.08,-9.715), (-3.625,-9.855,-2.07,-9.715), (2.67,-9.855,7.59,-9.715), (-7.205,-9.715,-6.945,-9.62), (-6.34,-9.715,-6.08,-9.625), (-3.625,-9.715,-3.365,-9.66), (-2.33,-9.715,-2.07,-9.625), (2.67,-9.715,2.93,-9.625), (4.015,-9.715,4.275,-9.625), (7.33,-9.715,7.59,-9.625), (-2.78,-7.11,-2.52,-6.975), (-3.195,-7.105,-2.935,-7.015), (-7.2,-7.085,-6.94,-7.015), (-1.41,-7.065,-1.15,-6.975), (4.935,-7.065,5.195,-6.975), (3.57,-7.06,3.83,-6.975), (-10.91,-7.04,-10.65,-6.95), (-7.68,-7.03,-7.42,-6.95), (-7.2,-7.015,-2.935,-6.875), (-2.78,-6.975,-1.15,-6.835), (3.57,-6.975,5.195,-6.835), (-10.91,-6.95,-7.42,-6.81), (-7.2,-6.875,-6.94,-6.765), (-3.195,-6.875,-2.935,-6.785), (-2.78,-6.835,-2.52,-6.79), (-1.41,-6.835,-1.15,-6.745), (3.57,-6.835,3.83,-6.74), (4.005,-6.835,4.265,-6.655), (4.935,-6.835,5.195,-6.745), (-10.91,-6.81,-10.65,-6.72), (-7.68,-6.81,-7.42,-6.71), (-1.355,-6.745,-1.215,-6.44), (-7.62,-6.71,-7.48,-6.305), (2.255,-6.53,2.515,-6.44), (7.335,-6.53,7.595,-6.44), (-5.435,-6.48,-5.175,-6.305), (-1.355,-6.44,7.595,-6.3), (-7.62,-6.305,-5.175,-6.165), (2.255,-6.3,2.515,-6.21), (7.335,-6.3,7.595,-6.21), (-5.435,-6.165,-5.175,-6.16), (-10.06,-6.13,-9.8,-5.95), (6.845,-6.13,7.105,-5.95), (-10.06,-5.95,7.105,-5.81), (-6.765,-5.67,-6.505,-5.58), (-2.745,-5.62,-2.485,-5.53), (-11.025,-5.58,-6.505,-5.44), (-2.745,-5.53,8.895,-5.39), (-6.765,-5.44,-6.505,-5.35), (-2.745,-5.39,-2.485,-5.3)])
A(comparator_latch_armstro, nsdm, -9.11, -14.23, 0.93, 1.25, 3, 2, 1.34, 7.645)
A(comparator_latch_armstro, nsdm, -5.085, -14.23, 0.93, 1.25, 4, 2, 1.34, 7.645)
A(comparator_latch_armstro, nsdm, -9.11, -12.345, 0.93, 2.25, 3, 2, 1.34, 2.88)
A(comparator_latch_armstro, nsdm, -5.085, -12.345, 0.93, 2.25, 4, 2, 1.34, 2.88)
R(comparator_latch_armstro, nsdm, [(0.65,-14.85,8.825,-14.43), (0.65,-14.43,1.07,-5.1), (8.405,-14.43,8.825,-5.1), (-11.01,-12.345,-10.08,-10.095), (-11.01,-9.465,-10.08,-7.215), (0.65,-5.1,8.825,-4.68)])
A(comparator_latch_armstro, psdm, 2.575, -12.395, 0.93, 2.25, 3, 2, 1.34, 2.98)
A(comparator_latch_armstro, psdm, 2.575, -6.635, 0.93, 1.25, 3, 1, 1.34, 0)
R(comparator_latch_armstro, psdm, [(-9.69,-14.81,0.445,-14.39), (-9.69,-14.39,-9.27,-5.165), (0.025,-14.39,0.445,-5.165), (1.27,-14.23,2.2,-12.98), (2.575,-14.23,3.505,-12.98), (3.915,-14.23,4.845,-12.98), (5.315,-14.23,6.245,-12.98), (7.275,-14.17,8.205,-13.37), (1.27,-12.395,2.2,-10.145), (7.275,-10.945,8.205,-10.145), (1.27,-9.415,2.2,-7.165), (7.275,-9.415,8.205,-8.615), (1.27,-6.635,2.2,-5.385), (7.275,-6.185,8.205,-5.385), (-9.69,-5.165,0.445,-4.745)])
R(comparator_latch_armstro, npc, [(4.88,-13.27,5.25,-12.9), (6.395,-13.26,6.765,-12.89), (2.205,-12.835,2.575,-12.465), (-4.145,-12.825,-3.775,-12.455), (-8.225,-12.75,-7.855,-12.38), (-10.12,-9.935,-9.75,-9.565), (7.345,-8.185,7.715,-7.815), (-2.835,-7.135,-2.465,-6.765), (-6.845,-7.09,-6.475,-6.72), (-4.145,-7.09,-3.775,-6.72), (-1.465,-7.09,-1.095,-6.72), (2.2,-7.09,2.57,-6.72), (4.88,-7.09,5.25,-6.72), (3.515,-7.085,3.885,-6.715), (6.475,-5.635,6.845,-5.265), (-8.16,-5.59,-7.79,-5.22), (-1.455,-5.59,-1.085,-5.22)])
comparator_latch_armstro.add(gdstk.Label('VOUT_P', (8.825,-13.16), layer=69, texttype=5))
comparator_latch_armstro.add(gdstk.Label('VIP', (-10.955,-5.505), layer=69, texttype=5))
comparator_latch_armstro.add(gdstk.Label('VOUT_N', (8.825,-5.455), layer=69, texttype=5))
comparator_latch_armstro.add(gdstk.Label('CLK', (8.825,-13.45), layer=69, texttype=5))
comparator_latch_armstro.add(gdstk.Label('VIN', (-10.955,-13.895), layer=69, texttype=5))
comparator_latch_armstro.add(gdstk.Label('VSS', (-9.945,-14.6), layer=68, texttype=5))
comparator_latch_armstro.add(gdstk.Label('VDD', (8.615,-14.58), layer=68, texttype=5))

lib.write_gds('comparator_latch_armstrong.gds')
